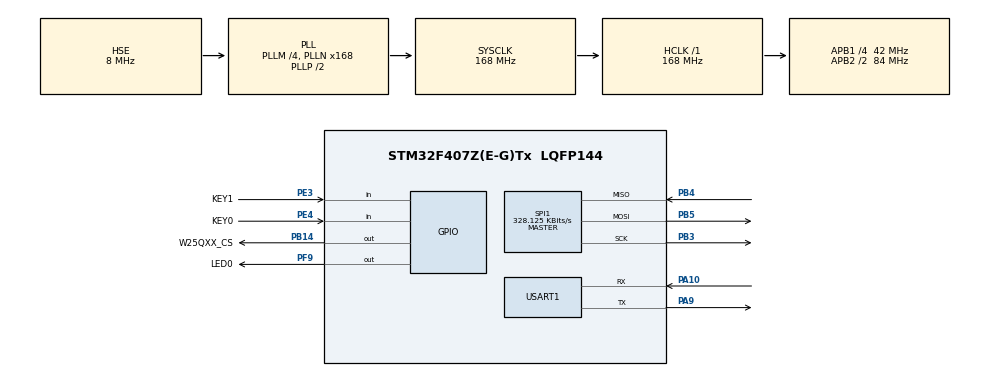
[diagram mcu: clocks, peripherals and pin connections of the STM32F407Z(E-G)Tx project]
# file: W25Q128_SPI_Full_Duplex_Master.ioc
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Mcu.Family=STM32F4
Mcu.Name=STM32F407Z(E-G)Tx
Mcu.Package=LQFP144
NVIC.PriorityGroup=NVIC_PRIORITYGROUP_4
PA10.Mode=Asynchronous
PA10.Signal=USART1_RX
PA9.Mode=Asynchronous
PA9.Signal=USART1_TX
PB14.GPIO_Label=W25QXX_CS
PB14.GPIO_ModeDefaultOutputPP=GPIO_MODE_OUTPUT_PP
PB14.GPIO_PuPd=GPIO_PULLUP
PB14.PinState=GPIO_PIN_SET
PB14.Signal=GPIO_Output
PB3.Mode=Full_Duplex_Master
PB3.Signal=SPI1_SCK
PB4.Mode=Full_Duplex_Master
PB4.Signal=SPI1_MISO
PB5.Mode=Full_Duplex_Master
PB5.Signal=SPI1_MOSI
PC14-OSC32_IN.Mode=LSE-External-Oscillator
PC14-OSC32_IN.Signal=RCC_OSC32_IN
PC15-OSC32_OUT.Mode=LSE-External-Oscillator
PC15-OSC32_OUT.Signal=RCC_OSC32_OUT
PE3.GPIO_Label=KEY1
PE3.GPIO_PuPd=GPIO_PULLUP
PE3.Signal=GPIO_Input
PE4.GPIO_Label=KEY0
PE4.GPIO_PuPd=GPIO_PULLUP
PE4.Signal=GPIO_Input
PF9.GPIO_Label=LED0
PF9.Signal=GPIO_Output
PH0-OSC_IN.Mode=HSE-External-Oscillator
PH0-OSC_IN.Signal=RCC_OSC_IN
PH1-OSC_OUT.Mode=HSE-External-Oscillator
PH1-OSC_OUT.Signal=RCC_OSC_OUT
ProjectManager.HeapSize=0x200
ProjectManager.StackSize=0x400
ProjectManager.TargetToolchain=MDK-ARM V5
RCC.48MHZClocksFreq_Value=84000000
RCC.AHBFreq_Value=168000000
RCC.APB1CLKDivider=RCC_HCLK_DIV4
RCC.APB1Freq_Value=42000000
RCC.APB1TimFreq_Value=84000000
RCC.APB2CLKDivider=RCC_HCLK_DIV2
RCC.APB2Freq_Value=84000000
RCC.APB2TimFreq_Value=168000000
RCC.CortexFreq_Value=168000000
RCC.HCLKFreq_Value=168000000
RCC.HSE_VALUE=8000000
RCC.HSI_VALUE=16000000
RCC.PLLM=4
RCC.PLLN=168
RCC.PLLSourceVirtual=RCC_PLLSOURCE_HSE
RCC.SYSCLKFreq_VALUE=168000000
RCC.SYSCLKSource=RCC_SYSCLKSOURCE_PLLCLK
RCC.VCOOutputFreq_Value=336000000
SPI1.BaudRatePrescaler=SPI_BAUDRATEPRESCALER_256
SPI1.CLKPhase=SPI_PHASE_2EDGE
SPI1.CLKPolarity=SPI_POLARITY_HIGH
SPI1.CalculateBaudRate=328.125 KBits/s
SPI1.Direction=SPI_DIRECTION_2LINES
SPI1.Mode=SPI_MODE_MASTER
SPI1.VirtualType=VM_MASTER
USART1.VirtualMode=VM_ASYNC
board=custom

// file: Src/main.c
/* USER CODE BEGIN Header */
/**
  ******************************************************************************
  * @file           : main.c
  * @brief          : Main program body
  ******************************************************************************
  * @attention
  *
  * <h2><center>&copy; Copyright (c) 2020 STMicroelectronics.
  * All rights reserved.</center></h2>
  *
  * This software component is licensed by ST under BSD 3-Clause license,
  * the "License"; You may not use this file except in compliance with the
  * License. You may obtain a copy of the License at:
  *                        opensource.org/licenses/BSD-3-Clause
  *
  ******************************************************************************
  */
/* USER CODE END Header */

#include "main.h"
#include "spi.h"
#include "usart.h"
#include "gpio.h"

/* USER CODE BEGIN Includes */
#include "stdio.h"
#include "key.h"
#include "w25qxx.h"
/* USER CODE END Includes */

void SystemClock_Config(void);

/* USER CODE BEGIN 0 */
//要写入到W25Q16的字符串数组
const u8 TEXT_Buffer[]={"explorer stm2f4 spi test"};
#define SIZE sizeof(TEXT_Buffer)
/* USER CODE END 0 */

int main(void)
{
  /* USER CODE BEGIN 1 */
  u8 key;
	u16 i=0;
	u8 datatemp[SIZE];
	u32 FLASH_SIZE;
  /* USER CODE END 1 */

  /* MCU Configuration--------------------------------------------------------*/

  /* Reset of all peripherals, Initializes the Flash interface and the Systick. */
  HAL_Init();

  /* Configure the system clock */
  SystemClock_Config();

  /* Initialize all configured peripherals */
  MX_GPIO_Init();
  MX_SPI1_Init();
  MX_USART1_UART_Init();
  /* USER CODE BEGIN 2 */
//	W25QXX_Init();			//W25QXX初始化
	FLASH_SIZE=16*1024*1024;	//FLASH 大小为16字节
  /* USER CODE END 2 */

  /* Infinite loop */
  while (1)
  {

    /* USER CODE BEGIN 3 */
    key=KEY_Scan(0);
		if(key==KEY1_PRES)//KEY1按下,写入W25Q128
		{

			SPI_W25X_Write((u8*)TEXT_Buffer,0x00000100,SIZE);		//从倒数第100个地址处开始,写入SIZE长度的数据
			printf("write \r\n");
		}
		if(key==KEY0_PRES)//KEY0按下,读取字符串并显示
		{
			SPI_W25X_Read(datatemp,0x00000100,SIZE);							//从倒数第100个地址处开始,读出SIZE个字节
			printf("read \r\n");
      HAL_UART_Transmit(&huart1,datatemp,SIZE,0xFFFF);
			printf("\r\n");//插入换行
		}
		i++;
		HAL_Delay(10);
		if(i==20)
		{
			HAL_GPIO_TogglePin(LED0_GPIO_Port,LED0_Pin);//提示系统正在运行
			i=0;
		}
  }
  /* USER CODE END 3 */
}

void SystemClock_Config(void)
{
  RCC_OscInitTypeDef RCC_OscInitStruct = {0};
  RCC_ClkInitTypeDef RCC_ClkInitStruct = {0};

  /** Configure the main internal regulator output voltage
  */
  __HAL_RCC_PWR_CLK_ENABLE();
  __HAL_PWR_VOLTAGESCALING_CONFIG(PWR_REGULATOR_VOLTAGE_SCALE1);
  /** Initializes the CPU, AHB and APB busses clocks
  */
  RCC_OscInitStruct.OscillatorType = RCC_OSCILLATORTYPE_HSE;
  RCC_OscInitStruct.HSEState = RCC_HSE_ON;
  RCC_OscInitStruct.PLL.PLLState = RCC_PLL_ON;
  RCC_OscInitStruct.PLL.PLLSource = RCC_PLLSOURCE_HSE;
  RCC_OscInitStruct.PLL.PLLM = 4;
  RCC_OscInitStruct.PLL.PLLN = 168;
  RCC_OscInitStruct.PLL.PLLP = RCC_PLLP_DIV2;
  RCC_OscInitStruct.PLL.PLLQ = 4;
  if (HAL_RCC_OscConfig(&RCC_OscInitStruct) != HAL_OK)
  {
    Error_Handler();
  }
  /** Initializes the CPU, AHB and APB busses clocks
  */
  RCC_ClkInitStruct.ClockType = RCC_CLOCKTYPE_HCLK|RCC_CLOCKTYPE_SYSCLK
                              |RCC_CLOCKTYPE_PCLK1|RCC_CLOCKTYPE_PCLK2;
  RCC_ClkInitStruct.SYSCLKSource = RCC_SYSCLKSOURCE_PLLCLK;
  RCC_ClkInitStruct.AHBCLKDivider = RCC_SYSCLK_DIV1;
  RCC_ClkInitStruct.APB1CLKDivider = RCC_HCLK_DIV4;
  RCC_ClkInitStruct.APB2CLKDivider = RCC_HCLK_DIV2;

  if (HAL_RCC_ClockConfig(&RCC_ClkInitStruct, FLASH_LATENCY_5) != HAL_OK)
  {
    Error_Handler();
  }
}

void Error_Handler(void)
{
}

/************************ (C) COPYRIGHT STMicroelectronics *****END OF FILE****/
